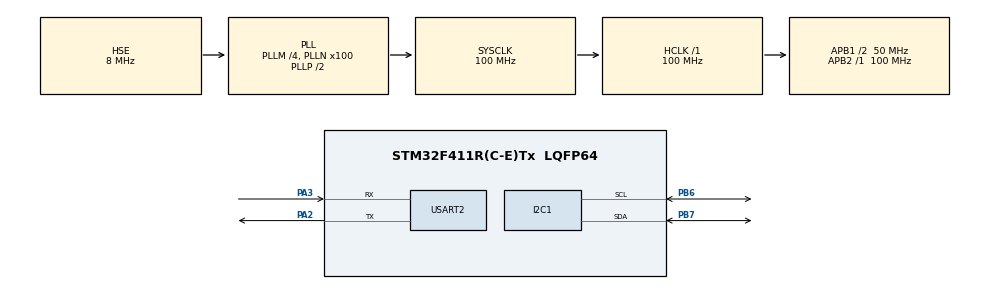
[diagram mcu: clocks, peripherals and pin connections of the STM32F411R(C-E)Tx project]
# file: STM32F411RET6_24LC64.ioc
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Mcu.Family=STM32F4
Mcu.Name=STM32F411R(C-E)Tx
Mcu.Package=LQFP64
NVIC.I2C1_ER_IRQn=true\:0\:0\:false\:false\:true\:true\:true\:true
NVIC.I2C1_EV_IRQn=true\:0\:0\:false\:false\:true\:true\:true\:true
NVIC.PriorityGroup=NVIC_PRIORITYGROUP_4
PA2.Mode=Asynchronous
PA2.Signal=USART2_TX
PA3.Mode=Asynchronous
PA3.Signal=USART2_RX
PB6.Mode=I2C
PB6.Signal=I2C1_SCL
PB7.Mode=I2C
PB7.Signal=I2C1_SDA
PH0\ -\ OSC_IN.Mode=HSE-External-Oscillator
PH0\ -\ OSC_IN.Signal=RCC_OSC_IN
PH1\ -\ OSC_OUT.Mode=HSE-External-Oscillator
PH1\ -\ OSC_OUT.Signal=RCC_OSC_OUT
ProjectManager.HeapSize=0x200
ProjectManager.StackSize=0x400
ProjectManager.TargetToolchain=STM32CubeIDE
RCC.48MHZClocksFreq_Value=50000000
RCC.AHBFreq_Value=100000000
RCC.APB1CLKDivider=RCC_HCLK_DIV2
RCC.APB1Freq_Value=50000000
RCC.APB1TimFreq_Value=100000000
RCC.APB2Freq_Value=100000000
RCC.APB2TimFreq_Value=100000000
RCC.CortexFreq_Value=100000000
RCC.HCLKFreq_Value=100000000
RCC.HSE_VALUE=8000000
RCC.HSI_VALUE=16000000
RCC.LSE_VALUE=32768
RCC.PLLM=4
RCC.PLLN=100
RCC.PLLSourceVirtual=RCC_PLLSOURCE_HSE
RCC.SYSCLKFreq_VALUE=100000000
RCC.SYSCLKSource=RCC_SYSCLKSOURCE_PLLCLK
RCC.VCOOutputFreq_Value=200000000
USART2.VirtualMode=VM_ASYNC
board=custom

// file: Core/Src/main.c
/* USER CODE BEGIN Header */
/**
 ******************************************************************************
 * @file           : main.c
 * @brief          : Main program body
 ******************************************************************************
 * @attention
 *
 * Copyright (c) 2024 STMicroelectronics.
 * All rights reserved.
 *
 * This software is licensed under terms that can be found in the LICENSE file
 * in the root directory of this software component.
 * If no LICENSE file comes with this software, it is provided AS-IS.
 *
 ******************************************************************************
 */
/* USER CODE END Header */
#include "main.h"

/* USER CODE BEGIN Includes */
#define PLATFORM_STM32_HAL
#include <xuart.h>
#include <eeprom/24LC64.h>
#include <i2cscanner.h>
#include <cstring>
/* USER CODE END Includes */

I2C_HandleTypeDef hi2c1;

UART_HandleTypeDef huart2;

/* USER CODE BEGIN PV */
I2CPollingModeMaster i2c(&hi2c1);
UARTLogger logger(&huart2);

/* USER CODE END PV */

void SystemClock_Config(void);
static void MX_GPIO_Init(void);
static void MX_I2C1_Init(void);
static void MX_USART2_UART_Init(void);

int main(void)
{

    /* MCU Configuration--------------------------------------------------------*/

    /* Reset of all peripherals, Initializes the Flash interface and the Systick. */
    HAL_Init();

    /* Configure the system clock */
    SystemClock_Config();

    /* Initialize all configured peripherals */
    MX_GPIO_Init();
    MX_I2C1_Init();
    MX_USART2_UART_Init();
    /* USER CODE BEGIN 2 */
    uint8_t ic = I2CScanner::enumerate(&hi2c1, [](auto addr) {
            logger.writeLine("I2C device found at address %#2X", addr);
        });
    logger.writeLine("%d I2C devices found", ic);
    EEPROM24LC64 eeprom(&i2c, 0x50 << 1); // R/W bit is LSB bit, shift 1 left
    /*char testChar = 0x5A;
    if (eeprom.memtest(testChar))
        logger.writeLine("EEPROM test passed/c");
    else
        logger.writeLine("EEPROM test failed/c, error=%d, addr=0x%02x", (uint8_t)eeprom.error(), eeprom.I2CAddress);
    */

    // Note that writes to this chip are in 32-byte blocks, and you can get
    // mismatches when writing and reading to random locations.

    // Please experiment with this code.
    const char *s1 = "Hello, world!123"; // 16 bytes
    auto len = strlen(s1);
    uint16_t memAddrTest = 0x0000;
    uint8_t buf[80];

    logger.writeLine("Read/write test");
    uint32_t maxWaitTime = 1000;
    for (uint16_t addr = memAddrTest; addr < 0x60; addr += len) {
        logger.writeLine("Writing test string at 0x%04X...", addr);
        if (!eeprom.write(addr, (uint8_t*)s1, len)) {
            logger.writeLine("Unable to write");
            continue;
        }
        // wait for end of writing
        uint32_t t0 = Delay::millis();
        while (!eeprom.ready()) {
            if (Delay::exceeded(t0, maxWaitTime)) {
                // prevent endless cycle
                logger.writeLine("Wait time exceeded");
                break;
            }
        }
        logger.writeLine("Reading test string...");
        memset(buf, 0, len);
        Delay::wait(200);
        if (!eeprom.read(addr, buf, len)) {
            logger.writeLine("Unable to read");
            continue;
        }
        if (0 == memcmp(s1, buf, len))
            logger.writeLine("Match");
        else
            logger.writeLine("Not match");
    }
    /* USER CODE END 2 */

    /* Infinite loop */
    while (1) {

    }
}

void SystemClock_Config(void)
{
    RCC_OscInitTypeDef RCC_OscInitStruct = { 0 };
    RCC_ClkInitTypeDef RCC_ClkInitStruct = { 0 };

    /** Configure the main internal regulator output voltage
     */
    __HAL_RCC_PWR_CLK_ENABLE();
    __HAL_PWR_VOLTAGESCALING_CONFIG(PWR_REGULATOR_VOLTAGE_SCALE1);

    /** Initializes the RCC Oscillators according to the specified parameters
     * in the RCC_OscInitTypeDef structure.
     */
    RCC_OscInitStruct.OscillatorType = RCC_OSCILLATORTYPE_HSE;
    RCC_OscInitStruct.HSEState = RCC_HSE_ON;
    RCC_OscInitStruct.PLL.PLLState = RCC_PLL_ON;
    RCC_OscInitStruct.PLL.PLLSource = RCC_PLLSOURCE_HSE;
    RCC_OscInitStruct.PLL.PLLM = 4;
    RCC_OscInitStruct.PLL.PLLN = 100;
    RCC_OscInitStruct.PLL.PLLP = RCC_PLLP_DIV2;
    RCC_OscInitStruct.PLL.PLLQ = 4;
    if (HAL_RCC_OscConfig(&RCC_OscInitStruct) != HAL_OK) {
        Error_Handler();
    }

    /** Initializes the CPU, AHB and APB buses clocks
     */
    RCC_ClkInitStruct.ClockType = RCC_CLOCKTYPE_HCLK | RCC_CLOCKTYPE_SYSCLK
            | RCC_CLOCKTYPE_PCLK1 | RCC_CLOCKTYPE_PCLK2;
    RCC_ClkInitStruct.SYSCLKSource = RCC_SYSCLKSOURCE_PLLCLK;
    RCC_ClkInitStruct.AHBCLKDivider = RCC_SYSCLK_DIV1;
    RCC_ClkInitStruct.APB1CLKDivider = RCC_HCLK_DIV2;
    RCC_ClkInitStruct.APB2CLKDivider = RCC_HCLK_DIV1;

    if (HAL_RCC_ClockConfig(&RCC_ClkInitStruct, FLASH_LATENCY_3) != HAL_OK) {
        Error_Handler();
    }
}

static void MX_I2C1_Init(void)
{

    hi2c1.Instance = I2C1;
    hi2c1.Init.ClockSpeed = 100000;
    hi2c1.Init.DutyCycle = I2C_DUTYCYCLE_2;
    hi2c1.Init.OwnAddress1 = 0;
    hi2c1.Init.AddressingMode = I2C_ADDRESSINGMODE_7BIT;
    hi2c1.Init.DualAddressMode = I2C_DUALADDRESS_DISABLE;
    hi2c1.Init.OwnAddress2 = 0;
    hi2c1.Init.GeneralCallMode = I2C_GENERALCALL_DISABLE;
    hi2c1.Init.NoStretchMode = I2C_NOSTRETCH_DISABLE;
    if (HAL_I2C_Init(&hi2c1) != HAL_OK) {
        Error_Handler();
    }

}

static void MX_USART2_UART_Init(void)
{

    huart2.Instance = USART2;
    huart2.Init.BaudRate = 115200;
    huart2.Init.WordLength = UART_WORDLENGTH_8B;
    huart2.Init.StopBits = UART_STOPBITS_1;
    huart2.Init.Parity = UART_PARITY_NONE;
    huart2.Init.Mode = UART_MODE_TX_RX;
    huart2.Init.HwFlowCtl = UART_HWCONTROL_NONE;
    huart2.Init.OverSampling = UART_OVERSAMPLING_16;
    if (HAL_UART_Init(&huart2) != HAL_OK) {
        Error_Handler();
    }

}

static void MX_GPIO_Init(void)
{

    /* GPIO Ports Clock Enable */
    __HAL_RCC_GPIOH_CLK_ENABLE();
    __HAL_RCC_GPIOA_CLK_ENABLE();
    __HAL_RCC_GPIOB_CLK_ENABLE();

}

void Error_Handler(void)
{
    __disable_irq();
    while (1) {
    }
}
